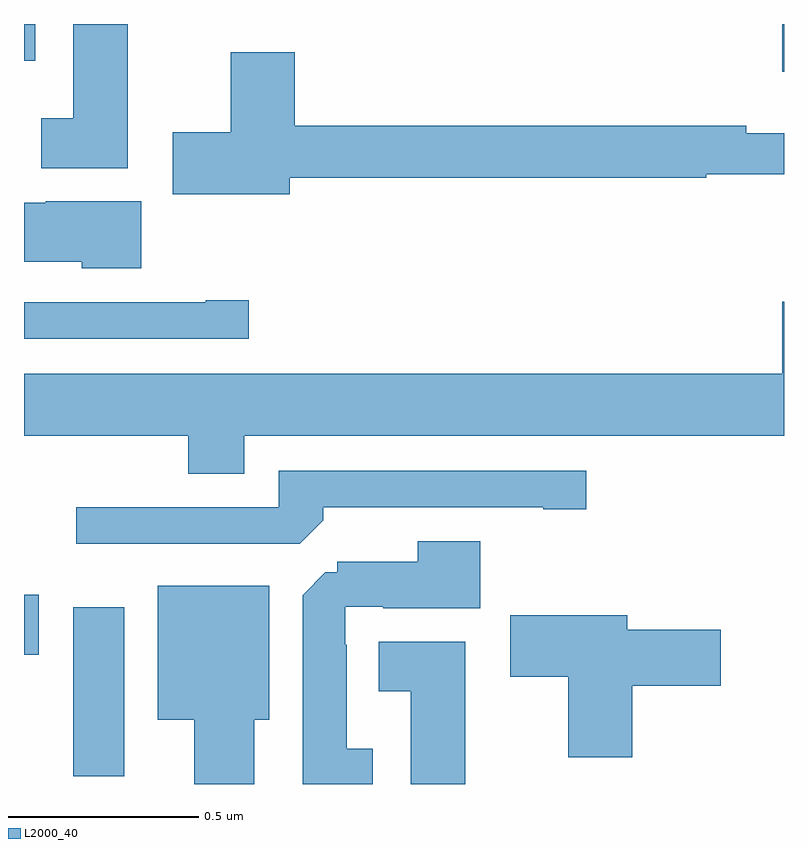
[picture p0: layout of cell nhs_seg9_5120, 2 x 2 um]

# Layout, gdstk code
import gdstk
lib = gdstk.Library(unit=1e-6, precision=1e-09)
def R(c, l, rs):  # rectangles x0, y0, x1, y1
    for r in rs: c.add(gdstk.rectangle(r[:2], r[2:], *l))
def P(c, l, *ps):  # polygons
    for p in ps: c.add(gdstk.Polygon(p, *l))
L2000_40 = (2000, 40)

nhs_seg9_5120 = lib.new_cell('nhs_seg9_5120')
R(nhs_seg9_5120, L2000_40, [(175.13,1199.521,175.264,1199.965), (175,1199.84,175.039,1199.998), (176.996,1201.374,177,1201.5), (175,1201.403,175.03,1201.5)])
P(nhs_seg9_5120, L2000_40, [(175.273,1201.5),(175.13,1201.5),(175.13,1201.252),(175.046,1201.252),(175.046,1201.121),(175.273,1201.121)],
  [(175.699,1201.096),(176.795,1201.096),(176.795,1201.104),(177,1201.104),(177,1201.213),(176.9,1201.213),(176.9,1201.232),(175.712,1201.232),(175.712,1201.426),(175.544,1201.426),(175.544,1201.215),(175.392,1201.215),(175.392,1201.052),(175.699,1201.052)],
  [(175.309,1201.033),(175.057,1201.033),(175.057,1201.029),(175,1201.029),(175,1200.875),(175.152,1200.875),(175.152,1200.857),(175.309,1200.857)],
  [(175.591,1200.773),(175.478,1200.773),(175.478,1200.768),(175,1200.768),(175,1200.672),(175.591,1200.672)],
  [(175.579,1200.416),(177,1200.416),(177,1200.769),(176.996,1200.769),(176.996,1200.58),(175,1200.58),(175,1200.416),(175.432,1200.416),(175.432,1200.317),(175.579,1200.317)],
  [(175.787,1200.194),(175.787,1200.228),(176.366,1200.228),(176.366,1200.223),(176.479,1200.223),(176.479,1200.324),(175.671,1200.324),(175.671,1200.228),(175.137,1200.228),(175.137,1200.132),(175.725,1200.132)],
  [(175.918,1199.593),(175.849,1199.593),(175.849,1199.867),(175.845,1199.867),(175.845,1199.967),(175.945,1199.967),(175.945,1199.963),(176.2,1199.963),(176.2,1200.139),(176.036,1200.139),(176.036,1200.085),(175.824,1200.085),(175.824,1200.057),(175.793,1200.057),(175.733,1199.997),(175.733,1199.5),(175.918,1199.5)],
  [(175.606,1199.669),(175.645,1199.669),(175.645,1200.022),(175.352,1200.022),(175.352,1199.669),(175.448,1199.669),(175.448,1199.5),(175.606,1199.5)],
  [(176.6,1199.759),(176.833,1199.759),(176.833,1199.906),(176.587,1199.906),(176.587,1199.944),(176.28,1199.944),(176.28,1199.782),(176.432,1199.782),(176.432,1199.571),(176.6,1199.571)],
  [(176.161,1199.875),(175.934,1199.875),(175.934,1199.744),(176.018,1199.744),(176.018,1199.5),(176.161,1199.5)])

lib.write_gds('nhs_seg9_5120.gds')
